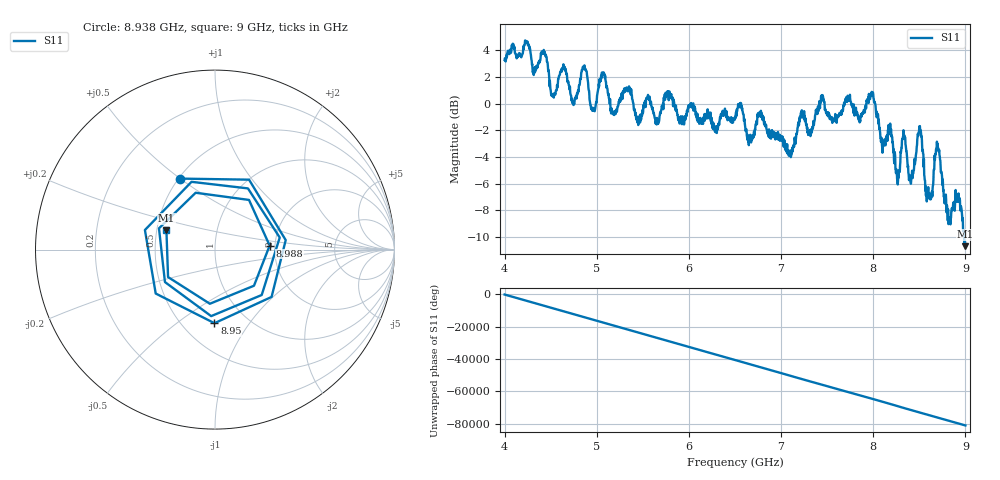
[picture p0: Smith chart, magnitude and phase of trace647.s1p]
! Created with skrf 1.8.0 (http://scikit-rf.org).
# Hz S RI R 50.0
!freq ReS11 ImS11
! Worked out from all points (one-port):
!   1601 points, 4 GHz to 9 GHz, reference 50 ohm
!   lowest |S11| = -10.7 dB at 9 GHz (marker M1), VSWR 1.82, Z = 28.1 + j6.67 ohm
!   |S11| at or under -10 dB: 8.986504 GHz to end of sweep
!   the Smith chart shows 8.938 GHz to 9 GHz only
!   S11 on the Smith chart (normalised r, x): 8.938 GHz: 0.51, +0.50; 8.95 GHz: 0.71, -0.70; 8.988 GHz: 1.87, +0.09; 9 GHz: 0.56, +0.13
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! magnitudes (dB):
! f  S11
! 4 GHz  3.3
! 4.425 GHz  4.0
! 4.528 GHz  0.6
! 4.625 GHz  2.6
! 4.747 GHz  -0.1
! 4.862 GHz  2.7
! 4.956 GHz  -0.3
! 5.066 GHz  2.2
! 5.175 GHz  -0.8
! 5.25 GHz  0.2
! 5.875 GHz  -0.9
! 6.5 GHz  -1.0
! 7.125 GHz  -3.6
! 7.225 GHz  -0.5
! 7.75 GHz  0.3
! 7.994 GHz  0.9
! 8.262 GHz  -5.8
! 8.328 GHz  -2.0
! 8.375 GHz  -4.8
! 8.419 GHz  -5.3
! 8.503 GHz  -1.9
! 8.591 GHz  -7.1
! 8.697 GHz  -3.0
! 8.819 GHz  -8.9
! 8.938 GHz  -7.1
! 8.95 GHz  -7.7
! 8.988 GHz  -10.3
! 9 GHz  -10.7
